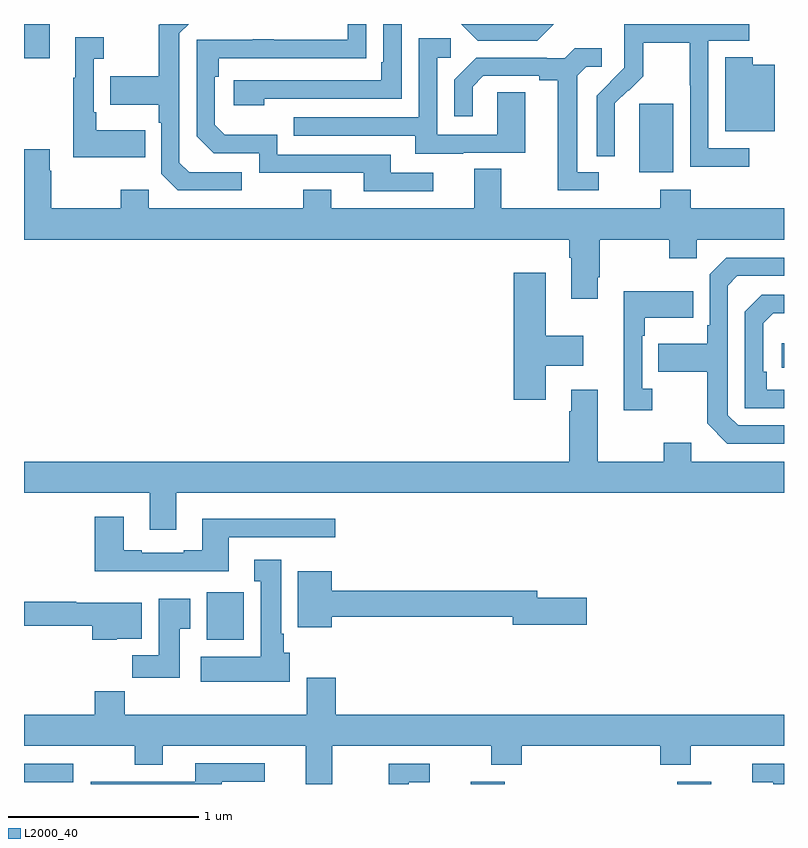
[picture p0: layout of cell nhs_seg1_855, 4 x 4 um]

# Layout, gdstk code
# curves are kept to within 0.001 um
import gdstk
lib = gdstk.Library(unit=1e-6, precision=1e-09)
def R(c, l, rs):  # rectangles x0, y0, x1, y1
    for r in rs: c.add(gdstk.rectangle(r[:2], r[2:], *l))
def P(c, l, *ps):  # polygons
    for p in ps: c.add(gdstk.Polygon(p, *l))
L2000_40 = (2000, 40)

nhs_seg1_855 = lib.new_cell('nhs_seg1_855')
R(nhs_seg1_855, L2000_40, [(159.35,550.199,159.529,550.21), (160.439,550.199,160.618,550.21), (157,550.209,157.258,550.305), (157.961,550.958,158.157,551.209), (160.989,552.39,161,552.52), (160.238,553.418,160.417,553.779), (157,554.019,157.135,554.199)])
P(nhs_seg1_855, L2000_40, [(159.154,553.416),(158.929,553.416),(158.929,553.512),(158.334,553.512),(158.334,553.615),(158.057,553.615),(158.004,553.668),(158.004,553.922),(158.024,553.922),(158.024,554.019),(158.801,554.02),(158.801,554.199),(158.705,554.199),(158.705,554.115),(158.315,554.115),(158.315,554.12),(158.203,554.12),(158.203,554.115),(157.908,554.115),(157.908,553.608),(157.998,553.518),(158.238,553.518),(158.238,553.416),(158.789,553.416),(158.789,553.32),(159.154,553.32)],
  [(160.816,553.545),(160.602,553.545),(160.602,554.112),(160.816,554.112),(160.816,554.199),(160.158,554.199),(160.158,554.067),(160.16,554.067),(160.16,553.97),(160.014,553.822),(160.014,553.504),(160.11,553.504),(160.109,553.781),(160.179,553.851),(160.182,553.848),(160.259,553.925),(160.259,554.1),(160.504,554.1),(160.504,553.876),(160.506,553.876),(160.506,553.447),(160.816,553.447)],
  [(158.146,553.419),(157.869,553.419),(157.818,553.47),(157.818,554.151),(157.866,554.199),(157.714,554.199),(157.71,554.195),(157.71,553.923),(157.453,553.923),(157.453,553.775),(157.71,553.775),(157.71,553.679),(157.722,553.679),(157.722,553.41),(157.809,553.323),(158.146,553.323)],
  [(159.789,554.199),(159.3,554.199),(159.387,554.112),(159.702,554.112)],
  [(158.264,553.806),(158.988,553.806),(158.988,554.199),(158.892,554.199),(158.892,553.999),(158.879,553.999),(158.879,553.902),(158.103,553.902),(158.103,553.772),(158.264,553.772)],
  [(157.637,553.639),(157.381,553.639),(157.381,553.735),(157.368,553.735),(157.368,554.015),(157.42,554.015),(157.42,554.128),(157.271,554.128),(157.271,553.915),(157.26,553.915),(157.26,553.499),(157.637,553.499)],
  [(159.313,553.521),(159.637,553.521),(159.637,553.841),(159.492,553.841),(159.492,553.617),(159.174,553.617),(159.174,554.022),(159.247,554.022),(159.247,554.123),(159.078,554.123),(159.078,553.707),(158.419,553.707),(158.419,553.611),(159.059,553.611),(159.059,553.517),(159.313,553.517)],
  [(160.024,553.419),(159.913,553.419),(159.913,553.927),(159.96,553.974),(160.042,553.974),(160.042,554.071),(159.898,554.071),(159.846,554.019),(159.752,554.019),(159.752,554.022),(159.38,554.022),(159.264,553.906),(159.264,553.713),(159.361,553.713),(159.361,553.869),(159.418,553.926),(159.713,553.926),(159.713,553.904),(159.809,553.904),(159.809,553.323),(160.024,553.323)],
  [(160.951,553.984),(160.835,553.984),(160.835,554.023),(160.691,554.023),(160.691,553.634),(160.951,553.634)],
  [(160.021,552.865),(160.029,552.865),(160.029,553.064),(160.396,553.064),(160.396,552.965),(160.542,552.965),(160.542,553.064),(161,553.064),(161,553.228),(160.508,553.228),(160.508,553.327),(160.348,553.327),(160.348,553.228),(159.511,553.228),(159.511,553.436),(159.371,553.436),(159.371,553.228),(158.617,553.228),(158.617,553.327),(158.47,553.327),(158.47,553.228),(157.656,553.228),(157.656,553.327),(157.51,553.327),(157.51,553.228),(157.143,553.228),(157.143,553.427),(157.135,553.427),(157.135,553.54),(157,553.54),(157,553.064),(159.869,553.064),(159.869,552.968),(159.881,552.968),(159.881,552.753),(160.021,552.753)],
  [(161,552.087),(160.758,552.087),(160.704,552.141),(160.704,552.822),(160.755,552.873),(161,552.873),(161,552.969),(160.695,552.969),(160.608,552.882),(160.608,552.613),(160.596,552.613),(160.596,552.517),(160.339,552.517),(160.339,552.37),(160.596,552.37),(160.596,552.097),(160.701,551.991),(161,551.991)],
  [(159.745,552.401),(159.943,552.401),(159.943,552.559),(159.745,552.559),(159.745,552.889),(159.578,552.889),(159.578,552.222),(159.745,552.222)],
  [(160.306,552.278),(160.254,552.278),(160.254,552.557),(160.267,552.557),(160.267,552.653),(160.523,552.653),(160.523,552.793),(160.157,552.793),(160.157,552.165),(160.306,552.165)],
  [(161,552.273),(160.91,552.273),(160.91,552.37),(160.89,552.37),(160.89,552.624),(160.943,552.677),(161,552.677),(161,552.774),(160.884,552.774),(160.794,552.684),(160.794,552.177),(161,552.177)],
  [(157.801,551.732),(161,551.732),(161,551.896),(160.513,551.896),(160.513,551.995),(160.366,551.995),(160.366,551.896),(160.021,551.896),(160.021,552.274),(159.881,552.274),(159.881,552.161),(159.869,552.161),(159.869,551.896),(157,551.896),(157,551.732),(157.661,551.732),(157.661,551.538),(157.801,551.538)],
  [(158.077,551.499),(158.638,551.499),(158.638,551.596),(157.937,551.596),(157.937,551.428),(157.841,551.428),(157.841,551.415),(157.621,551.415),(157.621,551.428),(157.525,551.428),(157.525,551.605),(157.373,551.605),(157.373,551.318),(158.077,551.318)],
  [(158.398,550.89),(158.368,550.89),(158.368,550.99),(158.353,550.99),(158.353,551.38),(158.213,551.38),(158.213,551.267),(158.246,551.267),(158.246,550.87),(157.929,550.87),(157.929,550.736),(158.398,550.736)],
  [(158.62,551.08),(159.572,551.08),(159.572,551.038),(159.961,551.038),(159.961,551.18),(159.7,551.18),(159.7,551.216),(158.62,551.216),(158.62,551.32),(158.441,551.32),(158.441,551.024),(158.62,551.024)],
  [(157.819,551.017),(157.876,551.017),(157.876,551.173),(157.709,551.173),(157.709,550.876),(157.57,550.876),(157.57,550.758),(157.819,550.758)],
  [(157.488,550.964),(157.621,550.964),(157.621,551.152),(157.274,551.152),(157.274,551.159),(157,551.159),(157,551.031),(157.358,551.031),(157.358,550.958),(157.488,550.958)],
  [(158.623,550.4),(159.46,550.4),(159.46,550.301),(159.62,550.301),(159.62,550.4),(160.349,550.4),(160.349,550.301),(160.509,550.301),(160.509,550.4),(161,550.4),(161,550.564),(158.642,550.564),(158.642,550.759),(158.489,550.759),(158.489,550.564),(157.529,550.564),(157.529,550.688),(157.373,550.688),(157.373,550.564),(157,550.564),(157,550.4),(157.582,550.4),(157.582,550.301),(157.729,550.301),(157.729,550.4),(158.483,550.4),(158.483,550.199),(158.623,550.199)],
  [(158.041,550.212),(158.266,550.212),(158.266,550.308),(157.901,550.308),(157.901,550.212),(157.35,550.212),(157.35,550.199),(158.041,550.199)],
  [(159.025,550.209),(159.136,550.209),(159.136,550.305),(158.921,550.305),(158.921,550.199),(159.025,550.199)],
  [(161,550.305),(160.833,550.305),(160.833,550.209),(160.943,550.209),(160.943,550.199),(161,550.199)])

lib.write_gds('nhs_seg1_855.gds')
